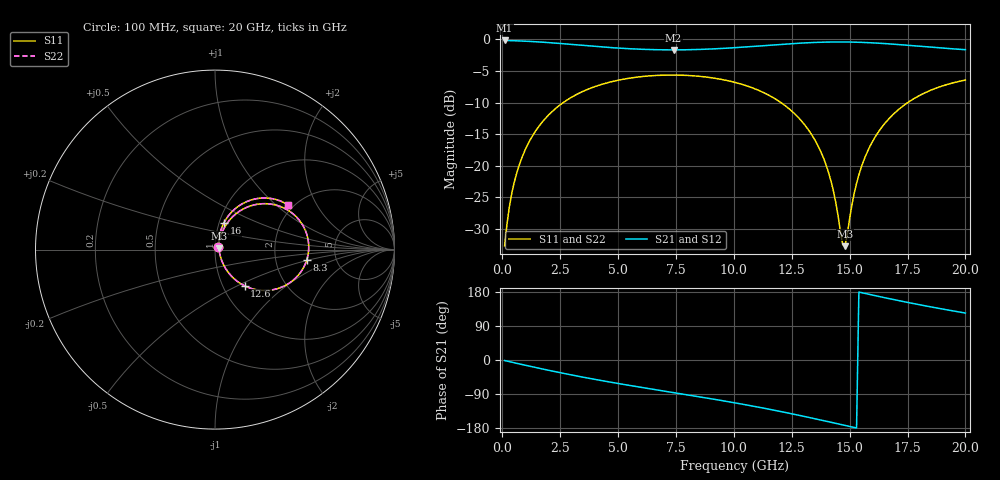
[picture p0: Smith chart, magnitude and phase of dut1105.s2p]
! Touchstone file exported from HFSS 2026.1.0
!  File:  C:/ffzhzh/LocalFiles/Ansys_Project_Files/temp_train_TSV_RDL_1105_1783303762_39728.aedt
!  Generated:  10:22:11 AM Jul  6, 2026
!  Design:  TSV_RDL
!  Project:  temp_train_TSV_RDL_1105_1783303762_39728
! Variables:
!  h_bsmrdl = 3.17um
!  h_ox = 20um
!  h_rdl = 5um
!  h_sub = 75.77um
!  h_tmrdl = 4.35um
!  h_tsv = 75.77um
!  h_via = 3um
!  l_bsmrdl = 420.38um
!  l_sub = 3890.22um
!  l_tmrdl = 523.52um
!  m_sub = 200um
!  pitch = 47.35um
!  r_tsv = 5.94um
!  s_tmrdl = 10um
!  w_bsmrdl = 29.28um
!  w_sub = 500um
!  w_tmrdl = 15.72um
!  x_tsv_center1 = 531.38um
!  x_tsv_center2 = 981.04um
!  x_tsv_center3 = 1520.28um
!  x_tsv_center4 = 1969.94um
!  x_tsv_center5 = 2509.18um
!  x_tsv_center6 = 2958.84um
# GHz S MA R 50.000000
! Terminal data exported
! Port[1] = TM_RDL1_1_T1
! Port[2] = TM_RDL5_1_T1
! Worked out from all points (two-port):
!   200 points, 100 MHz to 20 GHz, reference 50 ohm
!   highest |S21| = -0.16 dB at 100 MHz (marker M1); lowest = -1.6 dB at 7.4 GHz (marker M2)
!   |S21| within 3 dB of the highest: start of sweep to end of sweep
!   lowest |S11| = -32.7 dB at 14.8 GHz (marker M3), VSWR 1.05, Z = 52.2 + j0.763 ohm
!   |S11| at or under -10 dB: start of sweep to 2.631 GHz; 12.03 GHz to 17.51 GHz (5.474 GHz wide, 37.1 % of centre)
!   |S22| runs from -32.8 to -5.6 dB; largest |S21 - S12| = 1.6e-14
!   S11 on the Smith chart (normalised r, x): 100 MHz: 1.04, +0.03; 8.3 GHz: 3.04, -0.48; 12.6 GHz: 1.26, -0.55; 16 GHz: 1.05, +0.32; 20 GHz: 1.87, +1.20
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0.1  0.02314 37.5  0.9819 -1.5  0.9819 -1.5  0.02314 37.5
! Gamma 0 0 0 0
! Port Impedance 50 0 50 0
0.3  0.04656 61.1  0.9797 -4.3  0.9797 -4.3  0.04656 61.1
0.5  0.07181 66.4  0.9769 -7.1  0.9769 -7.1  0.07181 66.4
1.1  0.1474 66.2  0.9669 -15.3  0.9669 -15.3  0.1474 66.2
2.1  0.2631 56.5  0.9415 -28.4  0.9415 -28.4  0.2631 56.5
3.5  0.3893 41.0  0.8966 -45.5  0.8966 -45.5  0.3893 41.0
6.8  0.5203 7.8  0.8286 -80.2  0.8286 -80.2  0.5203 7.8
7.4  0.5226 2.1  0.827 -86.1  0.827 -86.1  0.5226 2.1
8.3  0.5145 -6.5  0.8314 -95.0  0.8314 -95.0  0.5145 -6.5
10.1  0.4546 -24.2  0.862 -113.7  0.862 -113.7  0.4546 -24.2
11.5  0.3627 -38.9  0.8993 -129.6  0.8993 -129.6  0.3627 -38.9
12.6  0.2606 -50.7  0.9289 -143.2  0.9289 -143.2  0.2606 -50.8
13.4  0.1716 -58.4  0.9455 -153.6  0.9455 -153.6  0.1716 -58.4
14.1  0.08724 -60.1  0.9539 -163.1  0.9539 -163.1  0.0872 -60.2
14.4  0.05136 -53.1  0.9553 -167.2  0.9553 -167.2  0.05132 -53.1
14.7  0.02378 -12.0  0.9553 -171.3  0.9553 -171.3  0.02371 -12.0
14.8  0.02306 18.5  0.955 -172.6  0.955 -172.6  0.02301 18.6
15.3  0.07253 70.9  0.9512 -179.4  0.9512 -179.4  0.07253 71.0
16  0.1568 71.6  0.9398 171.2  0.9398 171.2  0.1569 71.6
16.7  0.2359 65.5  0.9229 162.0  0.9229 162.0  0.2359 65.5
18.1  0.3663 50.8  0.8809 144.8  0.8809 144.8  0.3663 50.8
20  0.4768 31.5  0.8301 123.9  0.8301 123.9  0.4768 31.5
